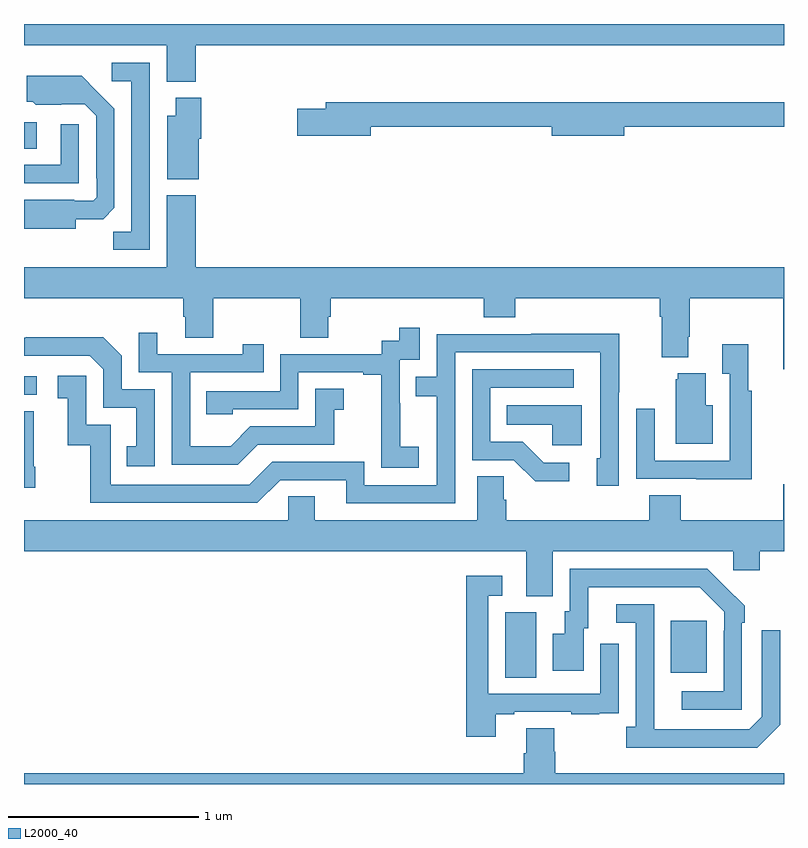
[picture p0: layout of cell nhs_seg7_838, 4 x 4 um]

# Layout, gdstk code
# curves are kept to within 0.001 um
import gdstk
lib = gdstk.Library(unit=1e-6, precision=1e-09)
def R(c, l, rs):  # rectangles x0, y0, x1, y1
    for r in rs: c.add(gdstk.rectangle(r[:2], r[2:], *l))
def P(c, l, *ps):  # polygons
    for p in ps: c.add(gdstk.Polygon(p, *l))
L2000_40 = (2000, 40)

nhs_seg7_838 = lib.new_cell('nhs_seg7_838')
R(nhs_seg7_838, L2000_40, [(175.532,1058.56,175.696,1058.904), (176.405,1058.585,176.593,1058.86), (173,1060.05,173.068,1060.146), (173,1061.344,173.068,1061.484)])
P(nhs_seg7_838, L2000_40, [(173.903,1061.888),(177,1061.888),(177,1062),(173,1062),(173,1061.888),(173.75,1061.888),(173.75,1061.696),(173.903,1061.696)],
  [(173.661,1061.796),(173.463,1061.796),(173.463,1061.7),(173.565,1061.7),(173.565,1060.907),(173.47,1060.907),(173.47,1060.812),(173.661,1060.812)],
  [(173.272,1060.973),(173.416,1060.973),(173.475,1061.032),(173.475,1061.554),(173.303,1061.728),(173.015,1061.728),(173.015,1061.592),(173.046,1061.592),(173.062,1061.576),(173.319,1061.577),(173.379,1061.517),(173.379,1061.188),(173.382,1061.188),(173.382,1061.088),(173.364,1061.07),(173.264,1061.07),(173.264,1061.074),(173,1061.074),(173,1060.922),(173.272,1060.922)],
  [(173.92,1061.397),(173.933,1061.397),(173.933,1061.611),(173.798,1061.611),(173.798,1061.518),(173.753,1061.518),(173.753,1061.183),(173.92,1061.183)],
  [(174.826,1061.458),(175.778,1061.458),(175.778,1061.411),(176.158,1061.411),(176.158,1061.458),(177,1061.458),(177,1061.587),(174.587,1061.587),(174.587,1061.553),(174.438,1061.553),(174.438,1061.411),(174.826,1061.411)],
  [(173.289,1061.473),(173.193,1061.473),(173.193,1061.259),(173,1061.259),(173,1061.163),(173.289,1061.163)],
  [(177,1060.72),(173.903,1060.72),(173.903,1061.098),(173.75,1061.098),(173.75,1060.72),(173,1060.72),(173,1060.556),(173.837,1060.556),(173.837,1060.458),(173.849,1060.458),(173.849,1060.348),(173.997,1060.348),(173.997,1060.556),(174.454,1060.556),(174.454,1060.348),(174.601,1060.348),(174.601,1060.458),(174.614,1060.458),(174.614,1060.556),(175.421,1060.556),(175.421,1060.457),(175.586,1060.457),(175.586,1060.556),(176.345,1060.556),(176.345,1060.46),(176.357,1060.46),(176.357,1060.247),(176.497,1060.247),(176.497,1060.354),(176.505,1060.354),(176.505,1060.556),(176.996,1060.556),(176.996,1060.182),(177,1060.182)],
  [(175.078,1059.775),(174.98,1059.775),(174.98,1060.004),(174.978,1060.004),(174.978,1060.233),(175.083,1060.233),(175.083,1060.402),(174.975,1060.402),(174.975,1060.332),(174.882,1060.332),(174.882,1060.263),(174.348,1060.263),(174.348,1060.068),(173.959,1060.068),(173.959,1059.945),(174.099,1059.945),(174.099,1059.972),(174.444,1059.972),(174.444,1060.167),(174.785,1060.167),(174.785,1060.155),(174.881,1060.155),(174.881,1059.871),(174.88,1059.871),(174.88,1059.665),(175.078,1059.665)],
  [(174.229,1059.786),(174.633,1059.786),(174.633,1059.971),(174.682,1059.971),(174.682,1060.081),(174.534,1060.081),(174.534,1059.882),(174.192,1059.882),(174.088,1059.778),(173.874,1059.778),(173.874,1060.167),(174.263,1060.167),(174.263,1060.315),(174.152,1060.315),(174.152,1060.263),(173.701,1060.263),(173.701,1060.375),(173.604,1060.375),(173.604,1060.167),(173.778,1060.167),(173.778,1059.681),(174.124,1059.681)],
  [(175.269,1060.272),(176.033,1060.272),(176.034,1059.714),(176.015,1059.714),(176.015,1059.57),(176.13,1059.57),(176.13,1060.063),(176.133,1060.063),(176.133,1060.37),(175.669,1060.37),(175.669,1060.368),(175.173,1060.368),(175.173,1060.143),(175.063,1060.143),(175.063,1060.042),(175.173,1060.042),(175.173,1059.573),(174.792,1059.573),(174.792,1059.696),(174.306,1059.696),(174.186,1059.576),(173.457,1059.576),(173.457,1059.891),(173.328,1059.891),(173.328,1060.15),(173.178,1060.15),(173.178,1060.029),(173.231,1060.029),(173.231,1059.783),(173.349,1059.783),(173.349,1059.48),(174.228,1059.48),(174.348,1059.6),(174.695,1059.6),(174.695,1059.477),(175.269,1059.477)],
  [(173.688,1060.077),(173.514,1060.077),(173.514,1060.254),(173.416,1060.352),(173.008,1060.352),(173.008,1060.35),(173,1060.35),(173,1060.254),(173.346,1060.254),(173.418,1060.182),(173.418,1059.981),(173.591,1059.981),(173.591,1059.777),(173.542,1059.777),(173.542,1059.672),(173.688,1059.672)],
  [(176.831,1060.07),(176.813,1060.07),(176.813,1060.315),(176.675,1060.315),(176.675,1060.159),(176.715,1060.159),(176.715,1059.702),(176.319,1059.702),(176.319,1059.976),(176.223,1059.976),(176.223,1059.606),(176.539,1059.606),(176.539,1059.605),(176.831,1059.605)],
  [(175.87,1059.69),(175.735,1059.69),(175.624,1059.801),(175.455,1059.801),(175.455,1060.086),(175.894,1060.086),(175.894,1060.182),(175.359,1060.182),(175.359,1059.705),(175.578,1059.705),(175.691,1059.593),(175.87,1059.593)],
  [(176.626,1059.994),(176.587,1059.994),(176.587,1060.162),(176.441,1060.162),(176.441,1060.131),(176.429,1060.131),(176.429,1059.791),(176.626,1059.791)],
  [(175.936,1059.994),(175.54,1059.994),(175.54,1059.89),(175.779,1059.89),(175.779,1059.782),(175.936,1059.782)],
  [(173.058,1059.67),(173.05,1059.67),(173.05,1059.961),(173,1059.961),(173,1059.558),(173.058,1059.558)],
  [(175.783,1059.224),(176.733,1059.224),(176.733,1059.126),(176.872,1059.126),(176.872,1059.224),(177,1059.224),(177,1059.577),(176.996,1059.577),(176.996,1059.388),(176.456,1059.388),(176.456,1059.521),(176.291,1059.521),(176.291,1059.388),(175.538,1059.388),(175.538,1059.497),(175.524,1059.497),(175.524,1059.62),(175.385,1059.62),(175.385,1059.388),(174.529,1059.388),(174.529,1059.515),(174.39,1059.515),(174.39,1059.388),(173,1059.388),(173,1059.224),(175.643,1059.224),(175.643,1058.989),(175.783,1058.989)],
  [(176.778,1058.849),(176.793,1058.849),(176.793,1058.937),(176.596,1059.132),(175.872,1059.132),(175.872,1058.91),(175.847,1058.91),(175.847,1058.791),(175.784,1058.791),(175.784,1058.595),(175.945,1058.595),(175.945,1058.82),(175.969,1058.82),(175.969,1059.036),(176.557,1059.036),(176.685,1058.907),(176.685,1058.807),(176.682,1058.807),(176.682,1058.487),(176.463,1058.487),(176.463,1058.391),(176.778,1058.391)],
  [(175.483,1058.367),(175.579,1058.367),(175.579,1058.379),(175.879,1058.379),(175.879,1058.367),(176.027,1058.367),(176.027,1058.373),(176.129,1058.373),(176.129,1058.482),(176.13,1058.482),(176.13,1058.737),(176.034,1058.737),(176.034,1058.475),(175.443,1058.475),(175.443,1058.991),(175.516,1058.991),(175.516,1059.097),(175.327,1059.097),(175.327,1058.25),(175.483,1058.25)],
  [(176.979,1058.313),(176.979,1058.809),(176.883,1058.809),(176.883,1058.355),(176.817,1058.289),(176.317,1058.289),(176.316,1058.946),(176.118,1058.946),(176.118,1058.85),(176.22,1058.85),(176.22,1058.302),(176.169,1058.302),(176.169,1058.192),(176.858,1058.192)],
  [(177,1058.056),(175.796,1058.056),(175.796,1058.169),(175.791,1058.169),(175.791,1058.294),(175.643,1058.294),(175.643,1058.162),(175.631,1058.162),(175.631,1058.056),(173,1058.056),(173,1058),(177,1058)])

lib.write_gds('nhs_seg7_838.gds')
